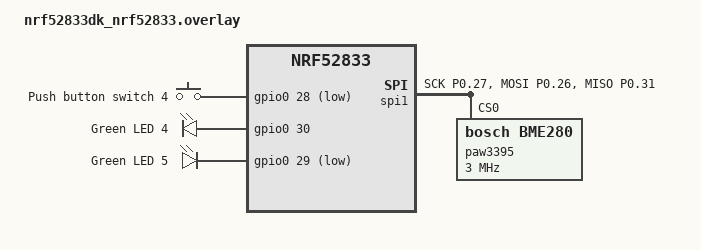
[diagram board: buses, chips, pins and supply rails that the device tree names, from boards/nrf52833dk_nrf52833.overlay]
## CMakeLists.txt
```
# SPDX-License-Identifier: Apache-2.0

cmake_minimum_required(VERSION 3.20.0)
find_package(Zephyr REQUIRED HINTS $ENV{ZEPHYR_BASE})
project(008paw3395_USB)

target_sources(app PRIVATE src/main.c)
target_sources(app PRIVATE src/sensor_func.c)
target_include_directories(app PRIVATE include)
```

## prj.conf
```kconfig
CONFIG_LOG=y
CONFIG_CBPRINTF_FP_SUPPORT=y
CONFIG_RESET_ON_FATAL_ERROR=n
CONFIG_SPI=y

CONFIG_USB_DEVICE_STACK=y
CONFIG_USB_DEVICE_HID=y
CONFIG_USB_DEVICE_PRODUCT="TRACKING MOUSE"
CONFIG_USB_DEVICE_PID=0x0007
CONFIG_USB_DEVICE_INITIALIZE_AT_BOOT=n

CONFIG_USB_DRIVER_LOG_LEVEL_ERR=y
CONFIG_USB_DEVICE_LOG_LEVEL_ERR=y
CONFIG_SENSOR=y
CONFIG_INPUT=y
CONFIG_PRINTK=y

CONFIG_USB_DEVICE_VID=0x1915

CONFIG_ENABLE_HID_INT_OUT_EP=y
```

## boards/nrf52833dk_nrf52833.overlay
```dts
/* STEP 2.1 - Create an overlay file for your board */
&i2c0 {	status = "disabled";};
&spi0 {	status = "disabled";};
&i2c1 {	status = "disabled";};

&spi1 {
    compatible = "nordic,nrf-spim";
    status = "okay";
    pinctrl-0 = <&spi1_default>;
    pinctrl-1 = <&spi1_sleep>;
    pinctrl-names = "default","sleep";
    // cs-gpios = <&gpio0 30 GPIO_ACTIVE_LOW>;
    paw3395: paw3395@0{
        compatible = "bosch,bme280";
        reg = <0>;
        spi-max-frequency = <3000000>;
    };
};
/* STEP 2.2 - Change the pin configuration */ 

&pinctrl {
    spi1_default: spi1_default {
        group1 {
            psels = <NRF_PSEL(SPIM_SCK, 0, 27)>,					 
                    <NRF_PSEL(SPIM_MOSI, 0, 26)>,
                    <NRF_PSEL(SPIM_MISO, 0, 31)>;
        };
    };
    spi1_sleep: spi1_sleep {
        group1 {
            psels = <NRF_PSEL(SPIM_SCK, 0, 27)>,
                    <NRF_PSEL(SPIM_MOSI, 0, 26)>,
                    <NRF_PSEL(SPIM_MISO, 0, 31)>;
            low-power-enable;
        };
    };
};
/{
    buttons {
        compatible = "gpio-keys";
        motion: motion {
            gpios = <&gpio0 28 (GPIO_PULL_UP | GPIO_ACTIVE_LOW)>;
            label = "Push button switch 4";
            zephyr,code = <INPUT_KEY_4>;
        };
    };
    leds {
		compatible = "gpio-leds";
		ncs: ncs {
			gpios = <&gpio0 30 GPIO_ACTIVE_HIGH>;
			label = "Green LED 4";
		};
        nreset: nreset {
			gpios = <&gpio0 29 GPIO_ACTIVE_LOW>;
			label = "Green LED 5";
		};
    };

    /* These aliases are provided for compatibility with samples */
    aliases {
        motion = &motion;
        ncs = &ncs;
        nreset = &nreset;
    };
};
```

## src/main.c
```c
#include <stdio.h>
#include <zephyr/kernel.h>
#include <zephyr/drivers/gpio.h>

// #include <zephyr.h>
#include <zephyr/sys_clock.h>

#include <zephyr/logging/log.h>
#include <stdint.h>

/* STEP 1.2 - Include the header files for SPI, GPIO and devicetree */
#include <zephyr/device.h>
#include <zephyr/devicetree.h>
#include <zephyr/drivers/spi.h>

#include <zephyr/drivers/sensor.h>
#include <zephyr/input/input.h>
#include <zephyr/usb/usb_device.h>
#include <zephyr/usb/class/usb_hid.h>
#include <zephyr/sys/printk.h>

#include "sensor_func.h"

LOG_MODULE_REGISTER(PAW3395_SPI, LOG_LEVEL_INF);

#define SLEEP_TIME_MS   100
#define SPIOP        	SPI_WORD_SET(8) | SPI_TRANSFER_MSB | SPI_MODE_CPOL | SPI_MODE_CPHA //If CPOL is set -> CPOL=1 otherwise 0, same for CPHA
#define MOTION_NODE 	DT_ALIAS(sw0)




int64_t volatile Time_read=0;
int64_t volatile Time_write=0;
bool volatile flag_write=false;
int8_t volatile flag_cb=0;


static const uint8_t hid_report_desc[] = HID_MOUSE_REPORT_DESC(5);
static enum usb_dc_status_code usb_status;

static struct gpio_dt_spec const led = GPIO_DT_SPEC_GET(DT_ALIAS(led0), gpios);
static struct gpio_dt_spec const motion_pin  = GPIO_DT_SPEC_GET(MOTION_NODE, gpios);
static struct gpio_dt_spec const print_pin  = GPIO_DT_SPEC_GET(DT_ALIAS(sw1), gpios);
struct gpio_dt_spec const ncs_pin = GPIO_DT_SPEC_GET(DT_ALIAS(ncs), gpios);
static struct gpio_dt_spec const nreset_pin = GPIO_DT_SPEC_GET(DT_ALIAS(nreset), gpios);
struct spi_dt_spec const spispec = SPI_DT_SPEC_GET(DT_NODELABEL(paw3395), SPIOP, 0);
// struct motion_burst volatile MotionBurstData;

extern long get_time(void);
extern int paw_read_regs(uint8_t reg, uint8_t *pdata, uint8_t size);
extern int paw_write_reg(uint16_t add, uint8_t data);
extern int update_values_motion_burst(void);
extern void CPI_set(uint16_t resolution_x, uint16_t resolution_y);
extern void power_up_init_reg(void);

extern bool burst;

enum mouse_report_idx
{
    MOUSE_BTN_REPORT_IDX = 0,
    MOUSE_X_REPORT_IDX = 1,
    MOUSE_Y_REPORT_IDX = 2,
    MOUSE_WHEEL_REPORT_IDX = 3,
    MOUSE_REPORT_COUNT = 4,
};

static int8_t report[MOUSE_REPORT_COUNT];
// static bool report_updated = false;

static void status_cb(enum usb_dc_status_code status, const uint8_t *param)
{
    usb_status = status;
}

static ALWAYS_INLINE void rwup_if_suspended(void)
{
    if (IS_ENABLED(CONFIG_USB_DEVICE_REMOTE_WAKEUP))
    {
        if (usb_status == USB_DC_SUSPEND)
        {
            usb_wakeup_request();
            return;
        }
    }
}
// static void input_cb(struct input_event *evt)
// {
//     uint8_t tmp[MOUSE_REPORT_COUNT];

//     (void)memcpy(tmp, report, sizeof(tmp));

//     if (memcmp(tmp, report, sizeof(tmp)))
//     {
//         memcpy(report, tmp, sizeof(tmp));
//         report_updated = true;
//     }
// }


static void power_up_sequence(void){
	k_msleep(50);
	// gpio_pin_configure_dt(&ncs_pin, GPIO_OUTPUT_ACTIVE);
	gpio_pin_set_dt(&ncs_pin,1);
	k_msleep(10);
	gpio_pin_set_dt(&ncs_pin,0);
	// spi_is_ready_dt(&spispec);
	// k_usleep(10);
	// gpio_pin_set_dt(&ncs_pin,1);
	paw_write_reg(POWER_UP_RESET_REG, 0x5A);
	k_msleep(5);
	power_up_init_reg();
	uint8_t value[1];
	for(uint8_t i = 0x02; i<=0x06; i++){
		paw_read_regs(i, value, 1);
		// printk("initial values");
	}
	// paw_read_regs(MOTION_CTRL_REG, value, 1);
	// paw_write_reg(MOTION_CTRL_REG,(value[0]|(1<<7)));
	// paw_read_regs(MOTION_CTRL_REG, value, 1);
	// printk("\nMOTION CTRL: %X\n",value[0]);
	gpio_pin_set_dt(&nreset_pin,1);
	k_usleep(10);
	gpio_pin_set_dt(&nreset_pin,0);

	// paw_read_regs(PERFORMANCE_REG, value, 1);
	// paw_write_reg(PERFORMANCE_REG,(value[0]|(1<<7)));
	// paw_read_regs(PERFORMANCE_REG, value, 1);
	// printk("\nPERFORMANCE: %X\n",value[0]);

	// paw_write_reg(ACCESS_REG,0x0C);
	// paw_read_regs(0x4E, value, 1);
	// paw_write_reg(0x4E,(value[0]|(1<<1)));
	// paw_read_regs(0x4E, value, 1);
	// printk("\nLIFT_CONFIGG: %X\n",value[0]);
	// paw_write_reg(ACCESS_REG,0x00);
}

void cb_motion(const struct device *dev, struct gpio_callback *cb, uint32_t pins){
	// gpio_pin_toggle_dt(&led);
	flag_cb++;              //eventually create semaphore for this task
}


ALWAYS_INLINE uint16_t complement(uint16_t x)
{
	return ((~x) + 1);
}

// INPUT_CALLBACK_DEFINE(&motion_pin, input_cb);

int main(void)
{
	int err;
	const struct device *hid_dev;
	#if defined(CONFIG_USB_DEVICE_STACK_NEXT)
	hid_dev = DEVICE_DT_GET_ONE(zephyr_hid_device);
	#else
	hid_dev = device_get_binding("HID_0");
	#endif

	if (!gpio_is_ready_dt(&led) || !gpio_is_ready_dt(&motion_pin) || !gpio_is_ready_dt(&ncs_pin)) {
		return 0;
	}
	err = spi_is_ready_dt(&spispec);
	if (!err) {
		LOG_ERR("Error: SPI device is not ready, err: %d", err);
		return 0;
	}
	
	gpio_pin_configure_dt(&led, GPIO_OUTPUT_ACTIVE);
	gpio_pin_configure_dt(&ncs_pin, GPIO_OUTPUT);
	gpio_pin_configure_dt(&nreset_pin, GPIO_OUTPUT_ACTIVE);
	gpio_pin_configure_dt(&motion_pin, GPIO_INPUT);
	gpio_pin_configure_dt(&print_pin, GPIO_INPUT);
	
	gpio_pin_set_dt(&nreset_pin,1);
	k_usleep(10);
	gpio_pin_set_dt(&nreset_pin,0);
	power_up_sequence();			//Power on reset for the sensor
	
	CPI_set(10000,10000);
	
	

	gpio_pin_interrupt_configure_dt(&motion_pin, GPIO_INT_EDGE_TO_ACTIVE);
	static struct gpio_callback motion_cb_data;
	
	uint8_t val[1];
	paw_read_regs(RESOLUTION_X_LOW_REG,val,1);  
	printk("%X ", val[0]);
	paw_read_regs(RESOLUTION_Y_LOW_REG,val,1);  
	printk("%X\n", val[0]); 
	// paw_read_regs(0x00,val,1);  //default value 0x51   (product ID reg)
	paw_read_regs(0x5f,val,1);     // default value 0xAE  (inv product ID reg)
	printk("product ID reg: %x\n",val[0]);
	paw_write_reg(0x15,0x00);

	k_msleep(550);

	paw_read_regs(0x15,val,1);
	printk("Observation reg: %x\n",val[0]);
	paw_read_regs(0x02,val,1);
	k_msleep(10);
	//configurng and setting up USB as HID
	usb_hid_register_device(hid_dev,									
                            hid_report_desc, sizeof(hid_report_desc),
                            NULL);

    usb_hid_init(hid_dev);
	usb_enable(status_cb);

	gpio_init_callback(&motion_cb_data,cb_motion,BIT(motion_pin.pin));
	gpio_add_callback(motion_pin.port, &motion_cb_data);
	// update_values_motion_burst();
	uint16_t resolution_x=100;
	uint16_t resolution_y=100;
	uint8_t value[12];
	uint16_t del_x=0;
	uint16_t del_y=0;
	report[MOUSE_BTN_REPORT_IDX] = 0U;
	report[MOUSE_WHEEL_REPORT_IDX] = 0U;
	while (1){
		
		if(flag_cb){
			// for(uint32_t volatile i = 0 ; i<500000/2 ; i++);
			
			int err=0;
			// !burst ? paw_write_reg(MOTION_BURST_REG,0x00) : NULL;
			err=paw_read_regs(MOTION_BURST_REG, value, 12);
			if(value[0] & 0x80)
			{
				//upload the mouse report
				del_x = (value[2]<<8 | value[1]);
            	del_y = (value[4]<<8 | value[3]);

				uint8_t temp;
				if(del_x>32767)
				{
					gpio_pin_set_dt(&led,1);
					temp = -1*complement(del_x)*128/32768;
				}
				else{
					gpio_pin_set_dt(&led,0);
					temp = del_x*128/32768; 
				}
				report[MOUSE_X_REPORT_IDX] = temp;

				if(del_y>32767)
				{
					// gpio_pin_set_dt(&led,1);
					temp = -1*complement(del_y)*128/32768;
				}
				else{
					// gpio_pin_set_dt(&led,0);
					temp = del_y*128/32768; 
				}
				report[MOUSE_Y_REPORT_IDX] = temp;





				// report[MOUSE_X_REPORT_IDX] = del_x>32767 ? (-1*complement(del_x))/(2*resolution_x) : del_x/(2*resolution_x);
				// report[MOUSE_Y_REPORT_IDX] = del_y>32767 ? (-1*((~del_y) +1))/(2*resolution_y) : del_y/(2*resolution_y);

				// report[MOUSE_X_REPORT_IDX] = -(value[2]<<8 | value[1])/resolution_x;
            	// report[MOUSE_Y_REPORT_IDX] = -(value[4]<<8 | value[3])/resolution_y;
				err = hid_int_ep_write(hid_dev, report, sizeof(report), NULL);
				report[MOUSE_X_REPORT_IDX] = 0U;
				report[MOUSE_Y_REPORT_IDX] = 0U;
			}
			// paw_write_reg(0x02,0x00);
			// burst = true;
			flag_cb--;
		}
		// k_usleep(1);
	}
	return 0;
}
```

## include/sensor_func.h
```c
#ifndef SENSOR_FUNC_H
#define SENSOR_FUNC_H

#include <stdint.h>
#include <stdio.h>
#include <zephyr/kernel.h>
#include <zephyr/drivers/gpio.h>

// #include <zephyr.h>
#include <zephyr/sys_clock.h>

#include <zephyr/logging/log.h>

/* STEP 1.2 - Include the header files for SPI, GPIO and devicetree */
#include <zephyr/device.h>
#include <zephyr/devicetree.h>
#include <zephyr/drivers/spi.h>

// struct motion_burst {
// 	uint8_t Motion;
// 	uint8_t Observation;
// 	uint8_t Del_X_L;
// 	int8_t Del_X_H;
// 	uint8_t Del_Y_L;
// 	int8_t Del_Y_H;
// 	uint8_t squal;
// 	uint8_t RawData_Sum;
// 	uint8_t Max_RawData;
// 	uint8_t Min_RawData;
// 	uint8_t Shutter_up;
// 	uint8_t Shutter_low;
// };

// struct motion_burst {
// 	uint8_t Shutter_low;
// 	uint8_t Shutter_up;
// 	uint8_t Min_RawData;
// 	uint8_t Max_RawData;
// 	uint8_t RawData_Sum;
// 	uint8_t squal;
// 	int8_t Del_Y_H;
// 	uint8_t Del_Y_L;
// 	int8_t Del_X_H;
// 	uint8_t Del_X_L;
// 	uint8_t Observation;
// 	uint8_t Motion;	
// };

//timing definitions 
#define CLK_SPEED       2000000  //Hz
#define Tsrad			2 //us
#define Tsrr			2
#define Tsrw			2
#define Tsww			5
#define Tswr			5

//register definitions
#define MOTION_BURST_REG		0x16
#define POWER_UP_RESET_REG		0x3A
#define ACCESS_REG				0x7F
#define SET_RESOLUTION_REG		0x47
#define RESOLUTION_X_LOW_REG	0x48
#define RESOLUTION_X_HIGH_REG	0x49
#define RESOLUTION_Y_LOW_REG	0x4A
#define RESOLUTION_Y_HIGH_REG	0x4B
#define MOTION_CTRL_REG			0x5C
#define PERFORMANCE_REG			0x40



//function prototypes
long get_time(void);
int paw_read_regs(uint8_t reg, uint8_t *pdata, uint8_t size);
int paw_write_reg(uint16_t add, uint8_t data);
int update_values_motion_burst(void);
void CPI_set(uint16_t resolution_x, uint16_t resolution_y);
void power_up_init_reg(void);

#endif
```

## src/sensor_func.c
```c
#include "sensor_func.h"

#include <stdio.h>
#include <zephyr/kernel.h>
#include <zephyr/drivers/gpio.h>

// #include <zephyr.h>
#include <zephyr/sys_clock.h>

#include <zephyr/logging/log.h>
#include <stdint.h>

/* STEP 1.2 - Include the header files for SPI, GPIO and devicetree */
#include <zephyr/device.h>
#include <zephyr/devicetree.h>
#include <zephyr/drivers/spi.h>

extern struct motion_burst MotionBurstData;
extern struct spi_dt_spec spispec;
extern const struct gpio_dt_spec ncs_pin;
extern int64_t Time_read;
extern int64_t Time_write;
extern bool flag_write;
bool volatile burst = false;

long get_time(void)        //this function to calculate the current time in us
{
	uint32_t cycles = k_cycle_get_32();
	uint32_t freq = sys_clock_hw_cycles_per_sec();
	uint64_t uptime_us = ((uint64_t)cycles * 1000000U) / freq;
	return uptime_us;
}

// int paw_read_regs(uint8_t reg, uint8_t *pdata, uint8_t size) //reg= writing register, 
int paw_read_regs(uint8_t reg, uint8_t dataRecv[], uint8_t size)
{                                                                   //pdata= pointer to where data is stored, 
	int err=0;														//size= size of incoming data
	uint8_t tx_buffer[1];
	tx_buffer[0] = (0<<7) | reg;
	// printk("value in tx buffer is %x\n",tx_buffer[0]);
	// struct spi_buf tx_spi_buf = {.buf = (void *)&tx_buffer, .len = 1};
	struct spi_buf tx_spi_buf[] = {
		{.buf = tx_buffer, .len = sizeof(tx_buffer)},
	};
	struct spi_buf_set tx_spi_buf_set = {.buffers = tx_spi_buf, .count = 1};
	
	struct spi_buf rx_spi_bufs[] = {
		{.buf = dataRecv, .len = size},
	};
	struct spi_buf_set rx_spi_buf_set = {.buffers = rx_spi_bufs, .count = 1};
	//check for timing in these loops
	int64_t t=get_time();
	if(flag_write){
		while(t-Time_write<Tswr){
			t=get_time();
		}
	}
	else{
		while(t-Time_read<Tsrr){
			t=get_time();
			// LOG_INF("%lli\n",t-Time_read);
		}
	}
	gpio_pin_set_dt(&ncs_pin,0);
	do{
		err = spi_write_dt(&spispec,&tx_spi_buf_set);
		if (err < 0) {break;}

		err = spi_read_dt(&spispec,&rx_spi_buf_set);

	} while (false);
	gpio_pin_set_dt(&ncs_pin,1);
	flag_write=false;
	burst = false;
	// k_usleep(Tsrr);
	return err;
}


int paw_write_reg(uint16_t regaddr, uint8_t data)
{
	int err=0;
	// k_cycle_get_64();
	// k_usleep(10);
	uint8_t tx_buffer[] = {((1<<7) | regaddr) , data};
	// printk("value in tx buffer is %x\n",tx_buffer[0]);
	struct spi_buf tx_spi_buf[] = {
		{.buf = tx_buffer, .len = sizeof(tx_buffer)},
	};
	struct spi_buf_set tx_spi_buf_set = {.buffers = tx_spi_buf, .count = 1};

	int64_t t=get_time();   //checks for time 
	if(flag_write){
		while(t-Time_write<Tsww-(16*1E6/CLK_SPEED)){   	//It has been optimized for PAW3395
			t=get_time();								//refer Datasheet 
		}
	}
	else{
		while(t-Time_read<Tsrw-(8*1E6/CLK_SPEED)){
			t=get_time();
		}
	}
	gpio_pin_set_dt(&ncs_pin,0);
	err = spi_write_dt(&spispec,&tx_spi_buf_set);
	gpio_pin_set_dt(&ncs_pin,1);
	flag_write=true;
	if (err < 0) {
		printk("spi_write_dt() for writing data failed failed, err %d \n", err);
		return err;
	}
	burst=false;
	// printk(".");
	return 80085;
}

int update_values_motion_burst(void){
	uint8_t value[12];
	int err=0;
	!burst ? paw_write_reg(MOTION_BURST_REG,0x00) : NULL;
	err=paw_read_regs(MOTION_BURST_REG, value, 12);

	
	// pMotionBurstData = &value;
	burst=true;

	// paw_write_reg(0x02,0x00);

	return err;
}
// int update_values_motion_burst(void){
// 	uint8_t value[1];
// 	int err;
// 	err=paw_read_regs(0x02, value, 1);
// 	// pMotionBurstData->Motion = value[0];
// 	err=paw_read_regs(0x03, value, 1);
// 	// pMotionBurstData->Del_X_L = value[0];
// 	err=paw_read_regs(0x04, value, 1);
// 	// pMotionBurstData->Del_X_H = value[0];
// 	err=paw_read_regs(0x05, value, 1);
// 	// pMotionBurstData->Del_Y_L = value[0];
// 	err=paw_read_regs(0x06, value, 1);
// 	// pMotionBurstData->Del_Y_H = value[0];
// 	paw_write_reg(0x02,0x0);

// 	return err;
// }
void CPI_set(uint16_t resolution_x, uint16_t resolution_y)
{
	uint8_t x[2];
	uint8_t y[2];
	
	uint16_t data_x = (resolution_x/50) - 1;
	uint16_t data_y = (resolution_y/50) - 1;
	x[0] = data_x;
	x[1] = data_x >> 8;
	y[0] = data_y;
	y[1] = data_y >> 8;

	printk("\nCPI_X: %X %X || CPI_Y: %X %X\n",x[1],x[0],y[1],y[0]);

	paw_write_reg(RESOLUTION_X_LOW_REG,x[0]);
	paw_write_reg(RESOLUTION_X_HIGH_REG,x[1]);
	paw_write_reg(RESOLUTION_Y_LOW_REG,y[0]);
	paw_write_reg(RESOLUTION_Y_HIGH_REG,y[1]);
	paw_write_reg(SET_RESOLUTION_REG,0x01);
}

void power_up_init_reg(void){   //function needs optimisation, store these values in a list in another file.
	void alternative_seq(void){
		printk("\nalt seq initiated\n");
		paw_write_reg(0x7F, 0x14);
		paw_write_reg(0x6C, 0x00);
		paw_write_reg(0x7F, 0x00);
	}
	paw_write_reg(0x7F, 0x07);
	paw_write_reg(0x40, 0x41);
	paw_write_reg(0x7F, 0x00);
	paw_write_reg(0x40, 0x80);
	paw_write_reg(0x7F, 0x0E);
	paw_write_reg(0x55, 0x0D);
	paw_write_reg(0x56, 0x1B);
	paw_write_reg(0x57, 0xE8);
	paw_write_reg(0x58, 0xD5);
	paw_write_reg(0x7F, 0x14);
	paw_write_reg(0x42, 0xBC);
	paw_write_reg(0x43, 0x74);
	paw_write_reg(0x4B, 0x20);
	paw_write_reg(0x4D, 0x00);
	paw_write_reg(0x53, 0x0E);
	paw_write_reg(0x7F, 0x05);
	paw_write_reg(0x44, 0x04);
	paw_write_reg(0x4D, 0x06);
	paw_write_reg(0x51, 0x40);
	paw_write_reg(0x53, 0x40);
	paw_write_reg(0x55, 0xCA);
	paw_write_reg(0x5A, 0xE8);
	paw_write_reg(0x5B, 0xEA);
	paw_write_reg(0x61, 0x31);
	paw_write_reg(0x62, 0x64);
	paw_write_reg(0x6D, 0xB8);
	paw_write_reg(0x6E, 0x0F);	//column-1
	paw_write_reg(0x70, 0x02);
	paw_write_reg(0x4A, 0x2A);
	paw_write_reg(0x60, 0x26);
	paw_write_reg(0x7F, 0x06);
	paw_write_reg(0x6D, 0x70);
	paw_write_reg(0x6E, 0x60);
	paw_write_reg(0x6F, 0x04);
	paw_write_reg(0x53, 0x02);
	paw_write_reg(0x55, 0x11);
	paw_write_reg(0x7A, 0x01);
	paw_write_reg(0x7D, 0x51);
	paw_write_reg(0x7F, 0x07);
	paw_write_reg(0x41, 0x10);
	paw_write_reg(0x42, 0x32);
	paw_write_reg(0x43, 0x00);
	paw_write_reg(0x7F, 0x08);
	paw_write_reg(0x71, 0x4F);
	paw_write_reg(0x7F, 0x09);
	paw_write_reg(0x62, 0x1F);
	paw_write_reg(0x63, 0x1F);
	paw_write_reg(0x65, 0x03);
	paw_write_reg(0x66, 0x03);
	paw_write_reg(0x67, 0x1F);
	paw_write_reg(0x68, 0x1F);
	paw_write_reg(0x69, 0x03);
	paw_write_reg(0x6A, 0x03);	
	paw_write_reg(0x6C, 0x1F);	//column-2
	paw_write_reg(0x6D, 0x1F);
	paw_write_reg(0x51, 0x04);
	paw_write_reg(0x53, 0x20);
	paw_write_reg(0x54, 0x20);
	paw_write_reg(0x71, 0x0C);
	paw_write_reg(0x72, 0x07);
	paw_write_reg(0x73, 0x07);
	paw_write_reg(0x7F, 0x0A);
	paw_write_reg(0x4A, 0x14);
	paw_write_reg(0x4C, 0x14);
	paw_write_reg(0x55, 0x19);
	paw_write_reg(0x7F, 0x14);
	paw_write_reg(0x4B, 0x30);
	paw_write_reg(0x4C, 0x03);
	paw_write_reg(0x61, 0x0B);
	paw_write_reg(0x62, 0x0A);
	paw_write_reg(0x63, 0x02);
	paw_write_reg(0x7F, 0x15);
	paw_write_reg(0x4C, 0x02);
	paw_write_reg(0x56, 0x02);
	paw_write_reg(0x41, 0x91);
	paw_write_reg(0x4D, 0x0A);
	paw_write_reg(0x7F, 0x0C);
	paw_write_reg(0x4A, 0x10);
	paw_write_reg(0x4B, 0x0C);
	paw_write_reg(0x4C, 0x40);
	paw_write_reg(0x41, 0x25);
	paw_write_reg(0x55, 0x18);
	paw_write_reg(0x56, 0x14);
	paw_write_reg(0x49, 0x0A);
	paw_write_reg(0x42, 0x00);
	paw_write_reg(0x43, 0x2D);
	paw_write_reg(0x44, 0x0C);
	paw_write_reg(0x54, 0x1A);
	paw_write_reg(0x5A, 0x0D);
	paw_write_reg(0x5F, 0x1E);
	paw_write_reg(0x5B, 0x05);
	paw_write_reg(0x5E, 0x0F);
	paw_write_reg(0x7F, 0x0D);
	paw_write_reg(0x48, 0xDD);
	paw_write_reg(0x4F, 0x03);
	paw_write_reg(0x52, 0x49);	//column-3
	paw_write_reg(0x51, 0x00);
	paw_write_reg(0x54, 0x5B);
	paw_write_reg(0x53, 0x00);
	paw_write_reg(0x56, 0x64);
	paw_write_reg(0x55, 0x00);
	paw_write_reg(0x58, 0xA5);
	paw_write_reg(0x57, 0x02);
	paw_write_reg(0x5A, 0x29);
	paw_write_reg(0x5B, 0x47);
	paw_write_reg(0x5C, 0x81);
	paw_write_reg(0x5D, 0x40);
	paw_write_reg(0x71, 0xDC);
	paw_write_reg(0x70, 0x07);
	paw_write_reg(0x73, 0x00);
	paw_write_reg(0x72, 0x08);
	paw_write_reg(0x75, 0xDC);
	paw_write_reg(0x74, 0x07);
	paw_write_reg(0x77, 0x00);
	paw_write_reg(0x76, 0x08);
	paw_write_reg(0x7F, 0x10);
	paw_write_reg(0x4C, 0xD0);
	paw_write_reg(0x7F, 0x00);
	paw_write_reg(0x4F, 0x63);
	paw_write_reg(0x4E, 0x00);
	paw_write_reg(0x52, 0x63);
	paw_write_reg(0x51, 0x00);
	paw_write_reg(0x54, 0x54);
	paw_write_reg(0x5A, 0x10);
	paw_write_reg(0x77, 0x4F);
	paw_write_reg(0x47, 0x01);
	paw_write_reg(0x5B, 0x40);
	paw_write_reg(0x64, 0x60);
	paw_write_reg(0x65, 0x06);
	paw_write_reg(0x66, 0x13);
	paw_write_reg(0x67, 0x0F);
	paw_write_reg(0x78, 0x01);
	paw_write_reg(0x79, 0x9C);
	paw_write_reg(0x40, 0x00);
	paw_write_reg(0x55, 0x02);
	paw_write_reg(0x23, 0x70);
	paw_write_reg(0x22, 0x01) ;
	k_usleep(1000);				//column-4
	uint8_t value[1];	
	bool flag=true;
	for(uint8_t i = 0; i<=60 ; i++){	//column-5
		int err;
			
		err=paw_read_regs(0x6C, value, 1);
		if(value[0] == 0x80){
			flag=false;
			break;
		}
		k_usleep(870);
	}
	flag ? alternative_seq() : NULL;   //alternative sequence define 
	paw_write_reg(0x22, 0x00);
	paw_write_reg(0x55, 0x00);
	paw_write_reg(0x7F, 0x07);
	paw_write_reg(0x40, 0x40);
	paw_write_reg(0x7F, 0x00);
	paw_write_reg(0x68, 0x01);	//column-6
	printk("Power-up sequence completed\n");   
}
```
